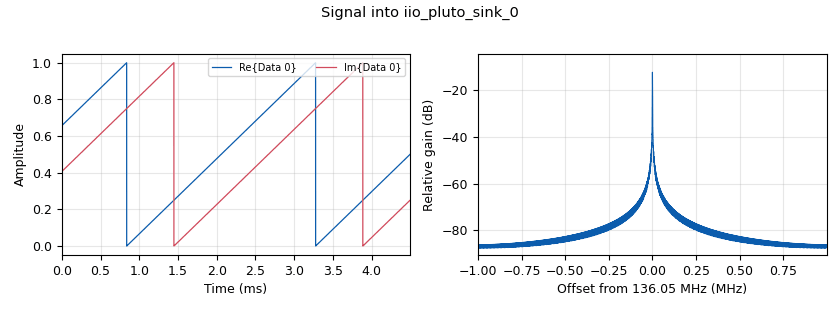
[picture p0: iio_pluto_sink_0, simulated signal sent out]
options:
  parameters:
    author: srs
    copyright: srs 2021
    description: NBFM PTT Tone JAmmer
    generate_options: qt_gui
    id: PTT_Tone_Jammer
    output_language: python
    title: PTT Tone maker
  states: {}

blocks:
- name: duty_cycle
  id: variable_qtgui_range
  parameters:
    gui_hint: '[0,1,1,1]'
    label: Duty Cycle (%)
    orient: Qt.Horizontal
    start: '0'
    step: '1'
    stop: '100'
    value: '100'
  states: {}
- name: freq
  id: variable
  parameters:
    value: '136050000'
  states: {}
- name: num_tones
  id: variable_qtgui_range
  parameters:
    gui_hint: '[1,2,1,1]'
    label: Number of Tones
    min_len: '100'
    orient: Qt.Horizontal
    rangeType: int
    start: '1'
    step: '1'
    stop: '100'
    value: '1'
  states: {}
- name: pri
  id: variable_qtgui_range
  parameters:
    gui_hint: '[0, 0, 1, 1]'
    label: PRI (sec)
    orient: Qt.Horizontal
    start: '2e-6'
    step: '0.5e-6'
    stop: '1'
    value: '1'
  states: {}
- name: pri_tau
  id: variable
  parameters:
    value: round(pri/(1/samp_rate))
  states: {}
- name: pulse_freq
  id: variable_qtgui_range
  parameters:
    gui_hint: '[1,0,1,1]'
    label: Pulse Freq (Hz)
    orient: Qt.Horizontal
    start: '10'
    step: '100'
    stop: 20e3
    value: '410'
  states: {}
- name: pulse_spacing
  id: variable
  parameters:
    value: round((pri/pw)*((100-duty_cycle)/100)*(pw_tau))
  states: {}
- name: pulse_vector
  id: variable
  parameters:
    value: '[1]*pw_tau+[0]*(pulse_spacing)'
  states: {}
- name: pw
  id: variable_qtgui_range
  parameters:
    gui_hint: '[1 , 1, 1, 1]'
    label: PW (sec)
    orient: Qt.Horizontal
    start: '1e-6'
    step: '0.5e-6'
    stop: '1'
    value: '1'
  states: {}
- name: pw_tau
  id: variable
  parameters:
    value: round(pw/(1/samp_rate))
  states: {}
- name: radio_freq
  id: variable_qtgui_range
  parameters:
    gui_hint: '[0, 2,1, 1]'
    label: Radio Freq
    orient: Qt.Horizontal
    rangeType: int
    start: '60000000'
    step: '1000000'
    stop: '6000000000'
    value: '136050000'
  states: {}
- name: samp_rate
  id: variable
  parameters:
    value: '2000000'
  states: {}
- name: analog_sig_source_x_0_0
  id: analog_sig_source_x
  parameters:
    amp: '1'
    freq: pulse_freq
    offset: '0'
    phase: '0'
    samp_rate: samp_rate
    type: complex
    waveform: analog.GR_SAW_WAVE
  states: {}
- name: blocks_multiply_xx_1
  id: blocks_multiply_xx
  parameters:
    comment: For a pulse limited signal
    type: complex
  states: {}
- name: blocks_vector_source_x_0
  id: blocks_vector_source_x
  parameters:
    repeat: 'True'
    type: complex
    vector: pulse_vector
  states: {}
- name: fosphor_qt_sink_c_0
  id: fosphor_qt_sink_c
  parameters:
    freq_center: freq
    freq_span: samp_rate/2
    wintype: firdes.WIN_BLACKMAN_hARRIS
  states: {state: disabled}
- name: iio_pluto_sink_0
  id: iio_pluto_sink
  parameters:
    attenuation1: '10.0'
    auto_filter: 'True'
    bandwidth: '20000000'
    buffer_size: '32768'
    cyclic: 'False'
    frequency: radio_freq
    samplerate: samp_rate
  states: {}
- name: iio_pluto_source_0
  id: iio_pluto_source
  parameters:
    auto_filter: 'True'
    bandwidth: '20000000'
    bbdc: 'True'
    buffer_size: '32768'
    frequency: freq
    gain1: '''manual'''
    manual_gain1: '35'
    quadrature: 'True'
    rfdc: 'True'
    samplerate: '2084000'
  states: {}
- name: qtgui_freq_sink_x_0
  id: qtgui_freq_sink_x
  parameters:
    autoscale: 'True'
    bw: samp_rate
    ctrlpanel: 'True'
    fc: radio_freq
    fftsize: '1024'
    gui_hint: '[3,0,1,3]'
    type: complex
    wintype: firdes.WIN_BLACKMAN_hARRIS
  states: {}
- name: qtgui_time_sink_x_1
  id: qtgui_time_sink_x
  parameters:
    ctrlpanel: 'True'
    entags: 'False'
    gui_hint: '[2,0,1,3]'
    size: '50000'
    srate: samp_rate/2
    tr_delay: '0.0'
    type: complex
  states: {}

connections:
- [analog_sig_source_x_0_0, '0', blocks_multiply_xx_1, '1']
- [blocks_multiply_xx_1, '0', iio_pluto_sink_0, '0']
- [blocks_vector_source_x_0, '0', blocks_multiply_xx_1, '0']
- [iio_pluto_source_0, '0', fosphor_qt_sink_c_0, '0']
- [iio_pluto_source_0, '0', qtgui_freq_sink_x_0, '0']
- [iio_pluto_source_0, '0', qtgui_time_sink_x_1, '0']

metadata:
  file_format: 1
